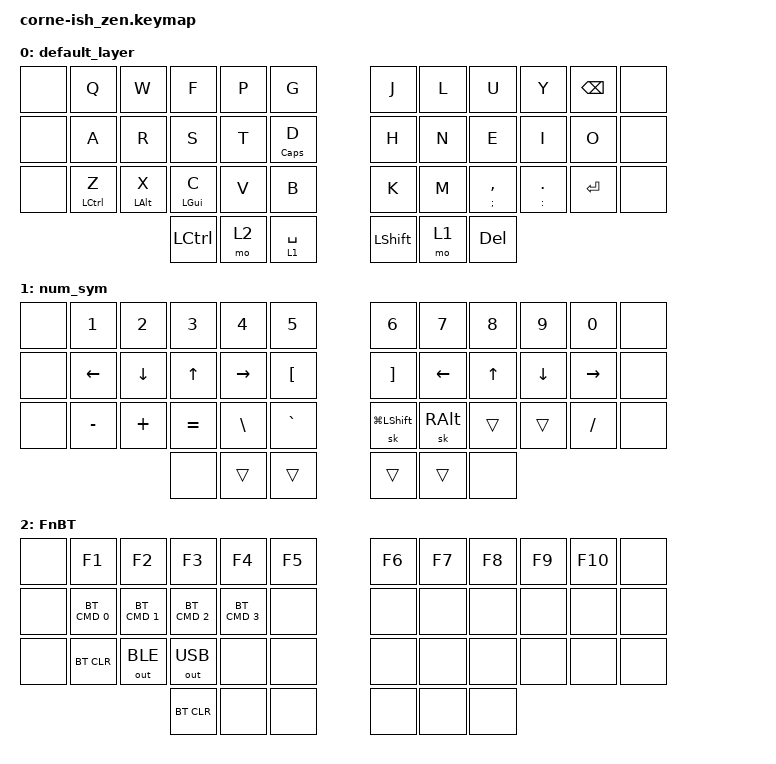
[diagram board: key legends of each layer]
/*
 * Copyright (c) 2020 The ZMK Contributors
 *
 * SPDX-License-Identifier: MIT
 */

#include <behaviors.dtsi>
#include <dt-bindings/zmk/keys.h>
#include <dt-bindings/zmk/bt.h>
#include <dt-bindings/zmk/outputs.h>

#define DEFAULT 0
#define NUM_SYM 1
#define FnBT    2

/ {
	behaviors {
		rst: boot_reset 
		{
			compatible = "zmk,behavior-hold-tap";
			label = "Bootloader Tap - Reset Hold";
			#binding-cells = <2>;
			tapping_term_ms = <200>;
            flavor = "balanced";
			bindings = <&reset>, <&bootloader>;
        };

        bh: layer_taps 
		{
			compatible = "zmk,behavior-hold-tap";
			label = "Layer-Tap";
			#binding-cells = <2>;
			tapping_term_ms = <215>;
            flavor = "tap-preferred";
			bindings = <&mo>, <&kp>;
        };

        hm: homerow_mods0 
		{
			compatible = "zmk,behavior-hold-tap";
			label = "homerow mods";
			#binding-cells = <2>;
			tapping_term_ms = <230>;
            flavor = "tap-preferred";
			bindings = <&kp>, <&kp>;
        };
        
        // hm1: homerow_mods1 
		// {
		// 	compatible = "zmk,behavior-hold-tap";
		// 	label = "homerow mods";
		// 	#binding-cells = <2>;
		// 	tapping_term_ms = <205>;
        //     flavor = "tap-preferred";
		// 	bindings = <&kp>, <&kp>;
        // };

        hm2: homerow_mods2 
		{
			compatible = "zmk,behavior-hold-tap";
			label = "homerow mods 2";
			#binding-cells = <2>;
			tapping_term_ms = <250>;
            flavor = "tap-preferred";
			bindings = <&kp>, <&kp>;
        };

        com_col: comma_semicolon
		{
		 	compatible = "zmk,behavior-hold-tap";
	     	label = "Tap comma_hold colon";
			#binding-cells = <2>;
			tapping_term_ms = <150>;
            flavor = "balanced";
		 	bindings = <&kp>, <&kp>;
	    };
   	 };
};

/ {
	combos {
		compatible = "zmk,combos";
		combo_sqt {
			timeout-ms = <50>;
			key-positions = <6 7>;
			bindings = <&kp SQT>;
		};
		combo_esc 
		{
			timeout-ms = <35>;
			key-positions = <1 2>;
			bindings = <&kp ESC>;
		};
			combo_grave 
		{
			timeout-ms = <40>;
			key-positions = <1 2 3>;
			bindings = <&kp GRAVE>;
		};
		combo_tab 
		{
			timeout-ms = <40>;
			key-positions = <13 14 15>;
			bindings = <&kp TAB>;
		};
		// combo_mnxt 
		// {
		// 	timeout-ms = <30>;
		// 	key-positions = <28 29>;
		// 	bindings = <&kp C_NEXT>;
		// };
		// combo_mprev 
		// {
		// 	timeout-ms = <30>;
		// 	key-positions = <27 28>;
		// 	bindings = <&kp C_PREV>;	
		// };
		// combo_mpp 
		// {
		// 	timeout-ms = <30>;
		// 	key-positions = <27 29>;
		// 	bindings = <&kp C_PP>;
		// };
		combo_del 
		{
			timeout-ms = <40>;
			key-positions = <7 8 9>;
			bindings = <&kp DEL>;
		};
	};
};
/ {
    keymap 
	{
    compatible = "zmk,keymap";

    default_layer {
            bindings = <
   &none &kp Q &kp W &kp F &kp P &kp G &kp J &kp L &kp U &kp Y &kp BSPC &none
   &none &kp A &kp R &kp S &kp T &hm2 CLCK D &kp H &kp N &kp E &kp I &kp O &none
   &none &hm LCTL Z &hm LALT X &hm2 LGUI C &kp V &kp B &kp K &kp M &com_col SEMI COMMA &com_col COLON DOT &kp RET &none
    &kp LCTL &mo 2 &bh 1 SPACE &kp LSHFT &mo 1 &kp DEL
            >;
        };

    num_sym {
            bindings = <
   &none &kp N1 &kp N2 &kp N3 &kp N4 &kp N5 &kp N6 &kp N7 &kp N8 &kp N9 &kp N0 &none
   &none &kp LEFT &kp DOWN &kp UP &kp RIGHT &kp LEFT_BRACKET &kp RIGHT_BRACKET &kp LEFT &kp UP &kp DOWN &kp RIGHT &none
   &none &kp MINUS &kp PLUS &kp EQUAL &kp BSLH &kp GRAVE &sk LG(LSHFT) &sk RALT &trans &trans &kp FSLH &none
    &none &trans &trans &trans &trans &none
            >;
        };

    FnBT {
            bindings = <
    &none &kp F1 &kp F2 &kp F3 &kp F4 &kp F5 &kp F6 &kp F7 &kp F8 &kp F9 &kp F10 &none
    &none &bt BT_SEL_CMD 0 &bt BT_SEL_CMD 1 &bt BT_SEL_CMD 2 &bt BT_SEL_CMD 3 &none &none &none &none &none &none &none
    &none &bt BT_CLR &out OUT_BLE &out OUT_USB &none &none &none &none &none &none &none &none
    &bt BT_CLR &none &none &none &none &none
            >;
        };
    };
}; 
